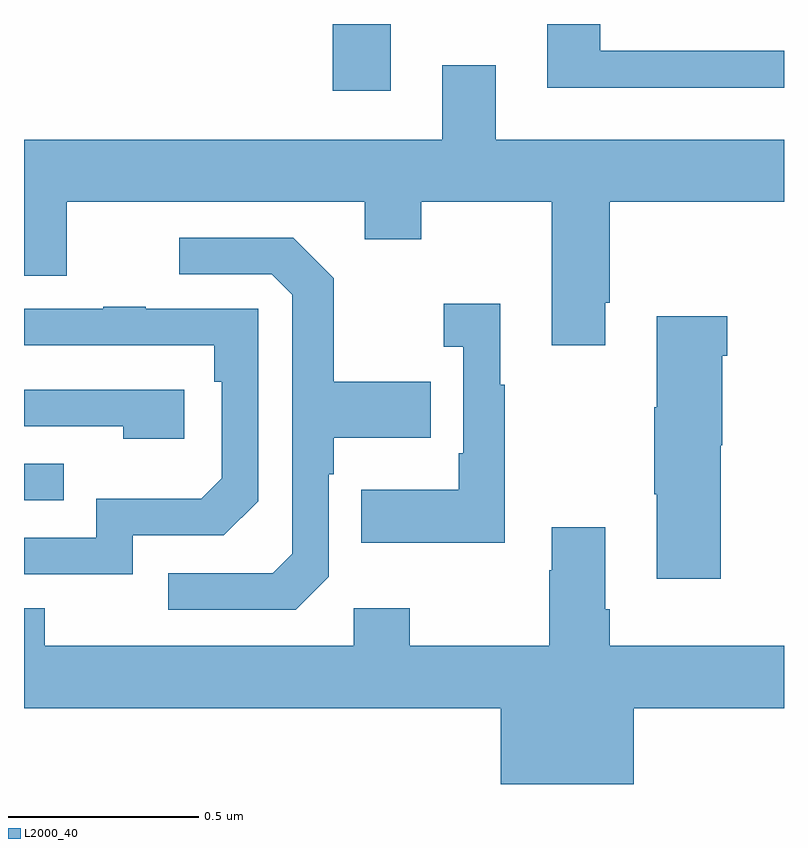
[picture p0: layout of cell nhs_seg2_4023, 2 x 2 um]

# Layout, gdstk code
import gdstk
lib = gdstk.Library(unit=1e-6, precision=1e-09)
def R(c, l, rs):  # rectangles x0, y0, x1, y1
    for r in rs: c.add(gdstk.rectangle(r[:2], r[2:], *l))
def P(c, l, *ps):  # polygons
    for p in ps: c.add(gdstk.Polygon(p, *l))
L2000_40 = (2000, 40)

nhs_seg2_4023 = lib.new_cell('nhs_seg2_4023')
R(nhs_seg2_4023, L2000_40, [(161,617.547,161.105,617.643), (161.813,618.624,161.965,618.8)])
P(nhs_seg2_4023, L2000_40, [(163,618.729),(162.517,618.729),(162.517,618.8),(162.377,618.8),(162.377,618.632),(163,618.632)],
  [(162.529,618.067),(162.542,618.067),(162.542,618.332),(163,618.332),(163,618.496),(162.241,618.496),(162.241,618.691),(162.101,618.691),(162.101,618.496),(161,618.496),(161,618.138),(161.113,618.138),(161.113,618.332),(161.897,618.332),(161.897,618.233),(162.045,618.233),(162.045,618.332),(162.389,618.332),(162.389,617.955),(162.529,617.955)],
  [(161.802,617.346),(161.802,617.615),(161.815,617.615),(161.815,617.711),(162.071,617.711),(162.071,617.859),(161.815,617.859),(161.815,618.131),(161.709,618.237),(161.409,618.237),(161.409,618.141),(161.652,618.141),(161.706,618.087),(161.706,617.406),(161.655,617.355),(161.379,617.355),(161.379,617.259),(161.715,617.259)],
  [(162.265,617.851),(162.253,617.851),(162.253,618.064),(162.105,618.064),(162.105,617.951),(162.156,617.951),(162.156,617.671),(162.144,617.671),(162.144,617.575),(161.887,617.575),(161.887,617.435),(162.265,617.435)],
  [(161.286,617.454),(161.526,617.454),(161.616,617.544),(161.616,618.051),(161.321,618.051),(161.321,618.056),(161.209,618.056),(161.209,618.051),(161,618.051),(161,617.955),(161.5,617.955),(161.5,617.858),(161.52,617.858),(161.52,617.604),(161.467,617.551),(161.19,617.551),(161.19,617.448),(161,617.448),(161,617.352),(161.286,617.352)],
  [(162.833,617.691),(162.838,617.691),(162.838,617.927),(162.851,617.927),(162.851,618.031),(162.665,618.031),(162.665,617.791),(162.658,617.791),(162.658,617.563),(162.665,617.563),(162.665,617.34),(162.833,617.34)],
  [(161.422,617.838),(161,617.838),(161,617.742),(161.261,617.742),(161.261,617.708),(161.422,617.708)],
  [(162.542,617.26),(162.529,617.26),(162.529,617.476),(162.389,617.476),(162.389,617.363),(162.382,617.363),(162.382,617.164),(162.015,617.164),(162.015,617.263),(161.868,617.263),(161.868,617.164),(161.055,617.164),(161.055,617.263),(161,617.263),(161,617),(162.254,617),(162.254,616.8),(162.604,616.8),(162.604,617),(163,617),(163,617.164),(162.542,617.164)])

lib.write_gds('nhs_seg2_4023.gds')
